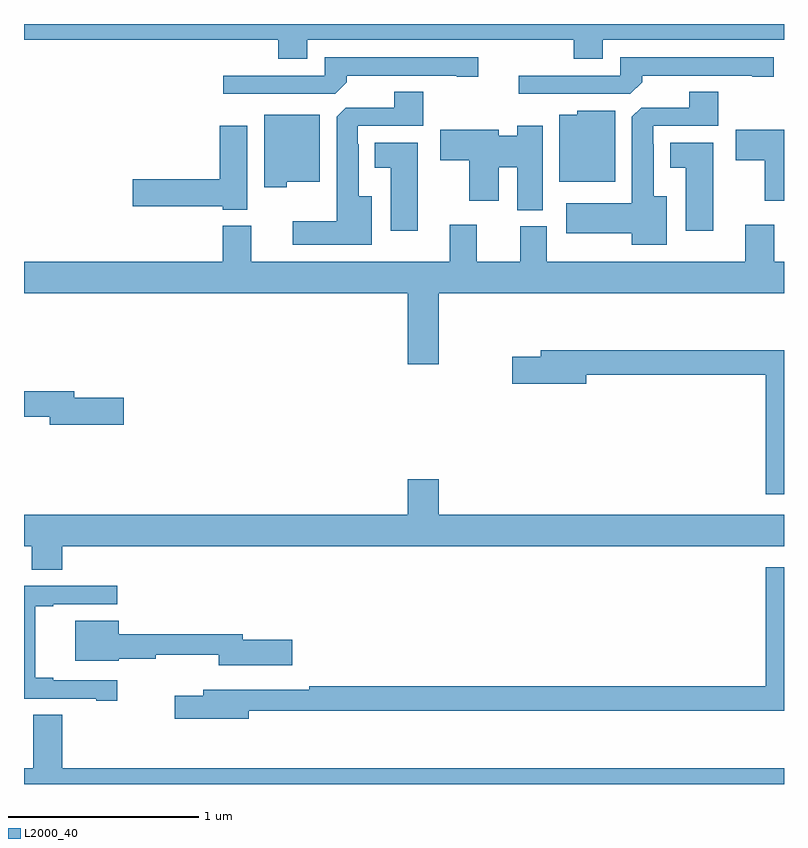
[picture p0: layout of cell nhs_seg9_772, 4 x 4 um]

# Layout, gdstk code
import gdstk
lib = gdstk.Library(unit=1e-6, precision=1e-09)
def P(c, l, *ps):  # polygons
    for p in ps: c.add(gdstk.Polygon(p, *l))
L2000_40 = (2000, 40)

nhs_seg9_772 = lib.new_cell('nhs_seg9_772')
P(nhs_seg9_772, L2000_40, [(152.491,1200.416),(153.893,1200.416),(153.893,1200.317),(154.045,1200.317),(154.045,1200.416),(155,1200.416),(155,1200.5),(151,1200.5),(151,1200.416),(152.339,1200.416),(152.339,1200.317),(152.491,1200.317)],
  [(154.253,1200.194),(154.253,1200.228),(154.832,1200.228),(154.832,1200.223),(154.945,1200.223),(154.945,1200.324),(154.137,1200.324),(154.137,1200.228),(153.603,1200.228),(153.603,1200.132),(154.191,1200.132)],
  [(152.699,1200.194),(152.699,1200.228),(153.278,1200.228),(153.278,1200.223),(153.391,1200.223),(153.391,1200.324),(152.583,1200.324),(152.583,1200.228),(152.049,1200.228),(152.049,1200.132),(152.637,1200.132)],
  [(152.83,1199.593),(152.761,1199.593),(152.761,1199.867),(152.757,1199.867),(152.757,1199.964),(153.101,1199.964),(153.101,1200.143),(152.948,1200.143),(152.948,1200.06),(152.694,1200.06),(152.645,1200.011),(152.645,1199.461),(152.415,1199.461),(152.415,1199.339),(152.83,1199.339)],
  [(154.384,1199.593),(154.315,1199.593),(154.315,1199.867),(154.311,1199.867),(154.311,1199.964),(154.655,1199.964),(154.655,1200.143),(154.502,1200.143),(154.502,1200.06),(154.248,1200.06),(154.199,1200.011),(154.199,1199.557),(153.855,1199.557),(153.855,1199.399),(154.199,1199.399),(154.199,1199.339),(154.384,1199.339)],
  [(154.111,1200.043),(153.912,1200.043),(153.912,1200.022),(153.818,1200.022),(153.818,1199.669),(154.111,1199.669)],
  [(152.382,1199.669),(152.557,1199.669),(152.557,1200.022),(152.264,1200.022),(152.264,1199.642),(152.382,1199.642)],
  [(153.73,1199.965),(153.596,1199.965),(153.596,1199.911),(153.499,1199.911),(153.499,1199.944),(153.192,1199.944),(153.192,1199.782),(153.344,1199.782),(153.344,1199.571),(153.499,1199.571),(153.499,1199.746),(153.596,1199.746),(153.596,1199.521),(153.73,1199.521)],
  [(152.176,1199.965),(152.03,1199.965),(152.03,1199.684),(151.572,1199.684),(151.572,1199.542),(152.046,1199.542),(152.046,1199.522),(152.176,1199.522)],
  [(155,1199.944),(154.746,1199.944),(154.746,1199.782),(154.898,1199.782),(154.898,1199.571),(155,1199.571)],
  [(154.627,1199.875),(154.4,1199.875),(154.4,1199.744),(154.484,1199.744),(154.484,1199.412),(154.627,1199.412)],
  [(153.073,1199.875),(152.846,1199.875),(152.846,1199.744),(152.93,1199.744),(152.93,1199.412),(153.073,1199.412)],
  [(153.184,1199.084),(155,1199.084),(155,1199.248),(154.949,1199.248),(154.949,1199.443),(154.796,1199.443),(154.796,1199.248),(153.751,1199.248),(153.751,1199.436),(153.611,1199.436),(153.611,1199.248),(153.382,1199.248),(153.382,1199.443),(153.242,1199.443),(153.242,1199.248),(152.197,1199.248),(152.197,1199.437),(152.045,1199.437),(152.045,1199.248),(151,1199.248),(151,1199.084),(153.02,1199.084),(153.02,1198.71),(153.184,1198.71)],
  [(155,1198.783),(153.719,1198.783),(153.719,1198.749),(153.57,1198.749),(153.57,1198.607),(153.958,1198.607),(153.958,1198.654),(154.903,1198.654),(154.903,1198.026),(155,1198.026)],
  [(151.525,1198.532),(151.264,1198.532),(151.264,1198.568),(151,1198.568),(151,1198.432),(151.136,1198.432),(151.136,1198.39),(151.525,1198.39)],
  [(151.202,1197.752),(155,1197.752),(155,1197.916),(153.184,1197.916),(153.184,1198.105),(153.02,1198.105),(153.02,1197.916),(151,1197.916),(151,1197.752),(151.042,1197.752),(151.042,1197.628),(151.202,1197.628)],
  [(152.182,1196.886),(155,1196.886),(155,1197.642),(154.903,1197.642),(154.903,1197.014),(152.5,1197.014),(152.5,1196.995),(151.943,1196.995),(151.943,1196.965),(151.794,1196.965),(151.794,1196.843),(152.182,1196.843)],
  [(151.492,1197.045),(151.153,1197.045),(151.153,1197.058),(151.058,1197.058),(151.058,1197.435),(151.153,1197.435),(151.153,1197.447),(151.492,1197.447),(151.492,1197.543),(151,1197.543),(151,1196.949),(151.379,1196.949),(151.379,1196.937),(151.492,1196.937)],
  [(152.413,1197.26),(152.152,1197.26),(152.152,1197.289),(151.498,1197.289),(151.498,1197.358),(151.271,1197.358),(151.271,1197.149),(151.498,1197.149),(151.498,1197.16),(151.694,1197.16),(151.694,1197.179),(152.024,1197.179),(152.024,1197.125),(152.413,1197.125)],
  [(151.202,1196.864),(151.049,1196.864),(151.049,1196.584),(151,1196.584),(151,1196.5),(155,1196.5),(155,1196.584),(151.202,1196.584)])

lib.write_gds('nhs_seg9_772.gds')
